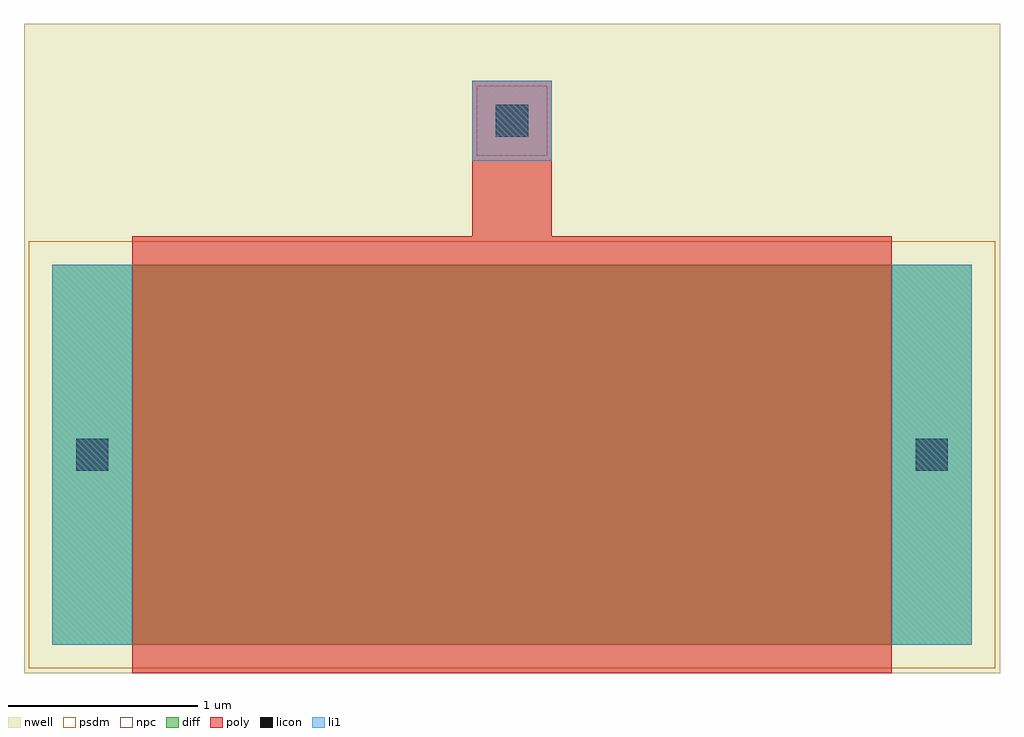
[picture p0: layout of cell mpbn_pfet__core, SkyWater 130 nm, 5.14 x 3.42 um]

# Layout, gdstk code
import gdstk
lib = gdstk.Library(unit=1e-6, precision=1e-09)
def R(c, l, rs):  # rectangles x0, y0, x1, y1
    for r in rs: c.add(gdstk.rectangle(r[:2], r[2:], *l))
nwell = (64, 20)
diff = (65, 20)
poly = (66, 20)
licon = (66, 44)
li1 = (67, 20)
psdm = (94, 20)
npc = (95, 20)

mpbn_pfet__core = lib.new_cell('mpbn_pfet__core')
R(mpbn_pfet__core, nwell, [(-0.15,-0.15,4.99,3.27)])
R(mpbn_pfet__core, diff, [(0,0,4.84,2)])
R(mpbn_pfet__core, poly, [(0.42,-0.15,4.42,2), (0.42,2,4.42,2.15), (0.42,2,4.42,2.15), (2.21,2.15,2.63,2.97)])
R(mpbn_pfet__core, licon, [(0.125,0.915,0.295,1.085), (4.545,0.915,4.715,1.085), (2.335,2.675,2.505,2.845)])
R(mpbn_pfet__core, li1, [(0,0,0.42,2), (4.42,0,4.84,2), (2.21,2.55,2.63,2.97)])
R(mpbn_pfet__core, psdm, [(-0.125,-0.125,4.965,2.125)])
R(mpbn_pfet__core, npc, [(2.235,2.575,2.605,2.945)])

lib.write_gds('mpbn_pfet__core.gds')
